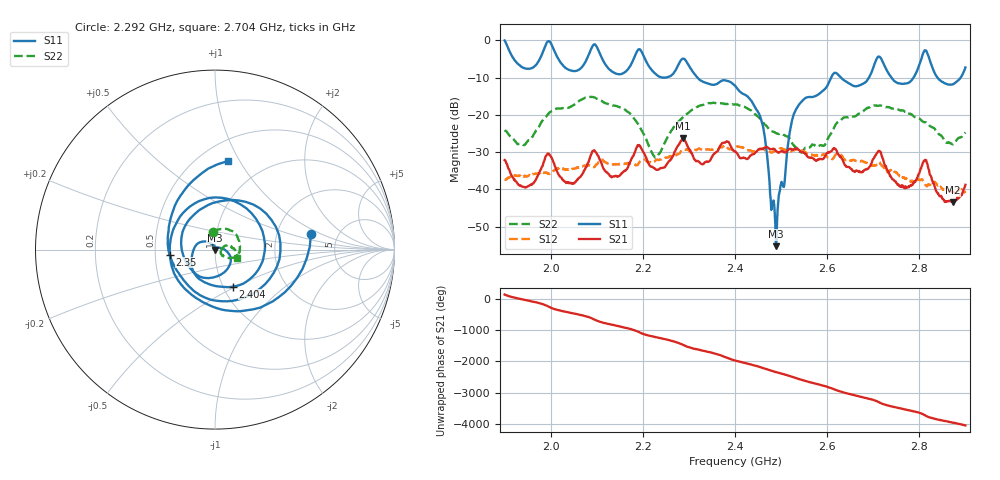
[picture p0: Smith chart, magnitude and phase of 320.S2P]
! C:\Users\rflab\Downloads\Lab5_KD_ZW\320.S2P
! Touchstone 1.1 file saved by VNA.EXE V1.65 (www.ke5fx.com/gpib/readme.htm)
! 11/12/2024 12:32:37 AM
!  Source: HEWLETT PACKARD,8753D,0,6.14
!  Min freq: 1.900000E+009 Hz
!  Max freq: 2.900000E+009 Hz
!  Points: 801
!  Params: S11 S21 S12 S22
# GHZ S RI R 50
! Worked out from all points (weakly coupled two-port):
!   801 points, 1.9 GHz to 2.9 GHz, reference 50 ohm
!   highest |S21| = -26.24 dB at 2.288 GHz (marker M1); lowest = -43.5 dB at 2.873 GHz (marker M2)
!   lowest |S11| = -55.3 dB at 2.489 GHz (marker M3), VSWR 1.00, Z = 50 - j0.172 ohm
!   |S11| at or under -10 dB: 2.318 GHz to 2.609 GHz (290.3 MHz wide, 11.8 % of centre); 2.63 GHz to 2.691 GHz (61.22 MHz wide, 2.3 % of centre); 2.839 GHz to 2.89 GHz (50.57 MHz wide, 1.77 % of centre) (the widest 3 of 5)
!   |S22| runs from -31.5 to -15.2 dB; largest |S21 - S12| = 0.018
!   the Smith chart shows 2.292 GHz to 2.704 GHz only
!   S11 on the Smith chart (normalised r, x): 2.292 GHz: 3.15, +0.78; 2.35 GHz: 0.60, -0.04; 2.404 GHz: 1.11, -0.48; 2.704 GHz: 0.68, +0.89
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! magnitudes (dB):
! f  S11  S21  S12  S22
! 1.9 GHz  0.0  -32.1  -37.4  -24.1
! 1.941 GHz  -7.4  -39.4  -36.5  -28.1
! 1.994 GHz  -0.3  -30.4  -35.8  -19.9
! 2.067 GHz  -7.2  -36.1  -33.9  -15.9
! 2.147 GHz  -9.1  -36.5  -33.3  -17.9
! 2.191 GHz  -2.4  -28.1  -33.0  -22.8
! 2.234 GHz  -9.6  -34.7  -32.1  -30.7
! 2.288 GHz  -4.9  -26.2  -29.3  -20.6
! 2.292 GHz  -5.3  -27.2  -29.4  -20.1
! 2.35 GHz  -11.9  -31.3  -29.3  -16.8
! 2.4 GHz  -12.2  -29.9  -29.1  -17.2
! 2.404 GHz  -12.8  -30.3  -28.6  -17.2
! 2.456 GHz  -21.1  -29.1  -29.2  -21.4
! 2.489 GHz  -55.3  -29.7  -29.6  -24.9
! 2.526 GHz  -20.3  -29.4  -29.5  -28.0
! 2.567 GHz  -15.2  -31.6  -30.8  -28.0
! 2.704 GHz  -6.1  -31.1  -33.6  -17.5
! 2.734 GHz  -9.0  -35.6  -35.2  -18.0
! 2.777 GHz  -11.3  -39.4  -37.5  -19.7
! 2.814 GHz  -2.7  -32.1  -38.9  -22.0
! 2.873 GHz  -11.8  -43.5  -40.6  -28.0
! 2.9 GHz  -7.3  -38.8  -40.9  -24.8
